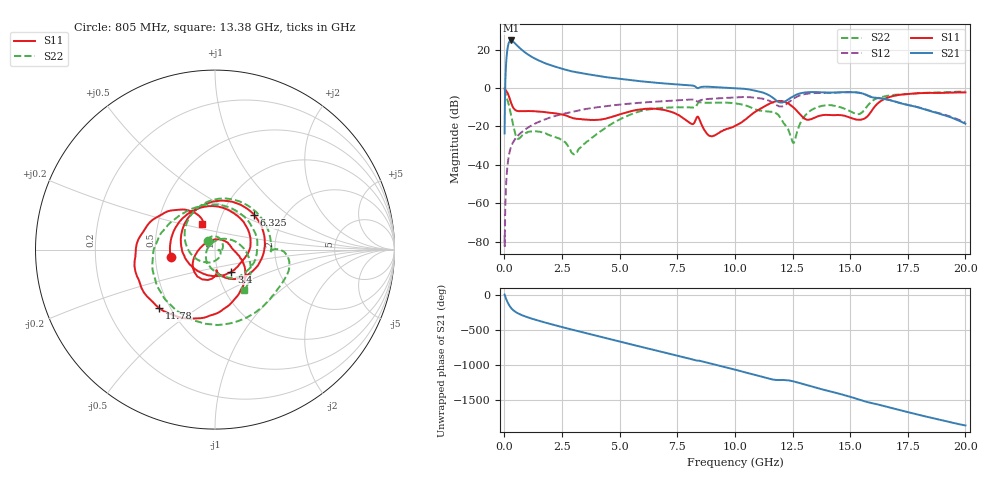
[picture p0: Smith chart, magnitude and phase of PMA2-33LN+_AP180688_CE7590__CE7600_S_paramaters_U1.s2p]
!Mini-Circuits Laboratory
!S-Parameters
!Model: PMA2-33LN+
!Run / Lot / Date Code: CE7590 / NA / 1539
!Fixture: TB-736+
!Network Analyzer: PNA-X N5244A - 423 4 ports;  Serial number: 76276
!Date: 6/16/2020 at 4:08:18 PM
!S/N: Unit# 1 (Unit1)
!Tested with:
# Hz  S  dB  R  50
!Frequency  S11 dB  S11 Deg  S21 dB  S21 Deg  S12 dB  S12 Deg  S22 dB  S22 Deg
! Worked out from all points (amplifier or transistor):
!   959 points, 10 MHz to 20 GHz, reference 50 ohm
!   highest |S21| = 24.7 dB at 280 MHz (marker M1)
!   |S21| within 3 dB of that: 154.1 MHz to 585.3 MHz (431.1 MHz wide, 117 % of centre)
!   unconditionally stable (mu >= 1): start of sweep to end of sweep
!   at 805 MHz: K = 1.03, MAG = 19.9 dB, |S12| = -22.4 dB
!   at 8.025 GHz: K = 1.03, MAG = 2.6 dB, |S12| = -6.0 dB
!   at 20 GHz: K = 5.31, MAG = -10.5 dB, |S12| = -18.0 dB
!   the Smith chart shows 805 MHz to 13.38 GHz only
!   S11 on the Smith chart (normalised r, x): 805 MHz: 0.60, -0.05; 3.4 GHz: 1.16, -0.29; 6.325 GHz: 1.41, +0.60; 11.78 GHz: 0.44, -0.36; 13.38 GHz: 0.83, +0.25
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1e7  -0.11 -35.7  -23.65 3.8  -76.45 41.1  -0.31 -36.1
9e7  -1.68 170.2  15.30 -71.8  -46.86 163.4  -4.66 -176.3
1.6e8  -3.17 105.8  22.06 -120.7  -37.84 134.4  -7.28 137.1
2.25e8  -5.29 56.8  24.27 -158.2  -33.30 113.2  -10.42 108.9
2.8e8  -7.28 19.9  24.71 176.2  -30.90 98.5  -13.46 93.4
3.65e8  -9.81 -30.2  24.24 145.9  -28.49 81.4  -18.29 81.7
4.6e8  -11.36 -76.3  23.20 120.8  -26.62 67.0  -23.30 85.8
6.2e8  -12.01 -130.3  21.30 89.9  -24.36 48.4  -26.38 116.9
8.05e8  -12.05 -170.4  19.34 62.9  -22.40 30.5  -24.32 128.0
1.2e9  -12.01 134.7  16.10 17.7  -19.33 -3.3  -22.48 107.3
1.825e9  -12.65 72.7  12.61 -42.2  -16.04 -53.9  -23.78 61.7
3.35e9  -16.24 -49.5  7.73 -172.8  -11.32 -173.9  -30.20 -15.1
3.4e9  -16.32 -53.6  7.62 -177.0  -11.20 -177.9  -29.70 -20.3
4.525e9  -15.50 -158.0  5.45 89.8  -9.27 93.3  -19.62 -142.8
6.325e9  -10.70 41.8  3.01 -56.3  -7.29 -47.1  -10.97 87.1
6.675e9  -10.93 13.7  2.63 -84.3  -7.02 -74.2  -10.49 66.1
1.0025e10  -19.65 -1.6  -0.07 7.1  -4.86 24.9  -8.05 -127.7
1.1775e10  -6.92 -133.5  -6.33 -138.8  -8.69 -119.9  -13.00 -24.3
1.335e10  -16.00 117.2  -2.12 125.2  -2.70 137.2  -11.23 -51.3
1.3375e10  -15.85 116.4  -2.11 122.9  -2.69 134.7  -11.06 -54.2
1.6675e10  -4.81 79.2  -6.18 -171.4  -6.14 -172.1  -3.95 104.1
2e10  -2.26 171.3  -18.56 -70.1  -18.03 -75.2  -1.81 -145.3
